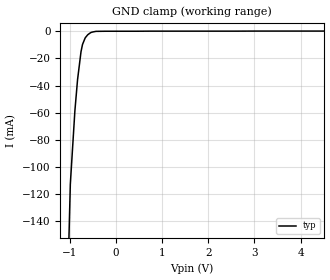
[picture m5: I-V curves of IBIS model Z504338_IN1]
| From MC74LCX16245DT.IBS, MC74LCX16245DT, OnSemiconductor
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| (C) COPYRIGHT 1993-2000
| MENTOR GRAPHICS CORPORATION
| ICX STANDARD LIBRARY, ICX PROJECT MODELING,
| ICX CUSTOM MODELING, ICX VENDOR MODEL
| ALL RIGHTS RESERVED.
| THE FOLLOWING ARE TRADEMARKS OR SERVICE MARKS OF
| MENTOR GRAPHICS CORPORATION:ICX (R), ICX STANDARD
| LIBRARY(R), ICX PROJECT MODELING(R), ICX CUSTOM
| MODELING(R), qualityIBIS(TM), MODELVIEWER(TM),
| AND MODELEDITOR(TM)
| ALL COPIES OF SOFTWARE, INCLUDING BUT NOT LIMITED TO
| ANY MODIFICATIONS, ENHANCEMENTS OR DERIVATIVE WORKS,
| MUST CONTAIN ALL MENTOR GRAPHICS CORPORATION'S
| NOTICES AND LEGENDS, INCLUDING THOSE EMBEDDED IN
| SOFTWARE AND THOSE AFFIXED TO SOFTWARE MEDIUM
| AND CONTAINER, AS RECEIVED FROM MENTOR GRAPHICS
| CORPORATION.
| Model Application Version 1.89 2/18/99.
[Model] Z504338_IN1
Model_type Input
Vinl = 800.0mV
Vinh = 2.000V
C_comp 4.000pF NA NA
| variable typ   min   max
[Voltage Range] 3.300V NA NA
[GND Clamp Reference] 0.000V NA NA
[POWER Clamp Reference] 3.300V NA NA
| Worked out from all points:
|   GND clamp passes 1 mA (typ) near -0.55 V on its own axis
[GND Clamp]
-3.3V     -6.147A    NA         NA
-1.02V    -157.8mA   NA         NA
-986.2mV  -113mA     NA         NA
-887.5mV  -58.75mA   NA         NA
-830mV    -35.78mA   NA         NA
-755mV    -15.01mA   NA         NA
-722.5mV  -9.628mA   NA         NA
-663.8mV  -4.718mA   NA         NA
-606.8mV  -2.375mA   NA         NA
-532.1mV  -675.7uA   NA         NA
-214.8mV  159.4uA    NA         NA
6.6V      277.7uA    NA         NA
[POWER Clamp]
-3.3V     0A         NA         NA
6.6V      0A         NA         NA
